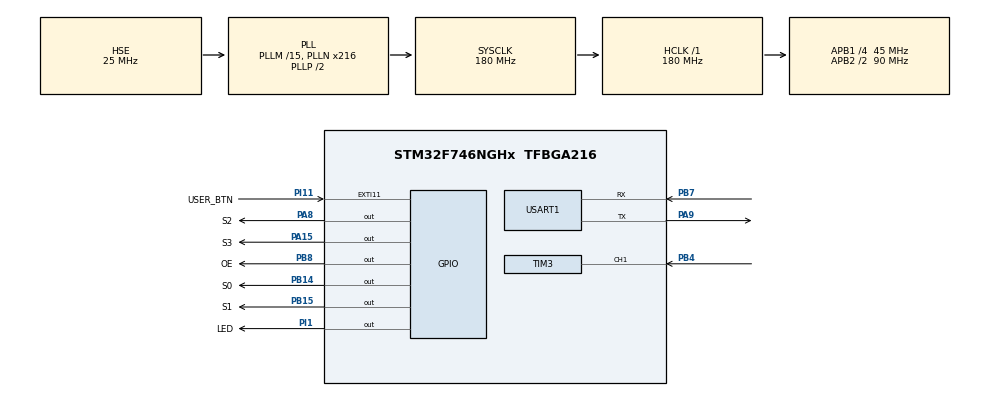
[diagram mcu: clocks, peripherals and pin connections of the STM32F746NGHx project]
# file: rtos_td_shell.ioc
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FREERTOS.Tasks01=defaultTask,0,128,StartDefaultTask,Default,NULL,Dynamic,NULL,NULL
Mcu.Family=STM32F7
Mcu.Name=STM32F746NGHx
Mcu.Package=TFBGA216
NVIC.PriorityGroup=NVIC_PRIORITYGROUP_4
NVIC.TIM3_IRQn=true\:5\:0\:false\:false\:true\:true\:true\:true\:true
NVIC.TIM6_DAC_IRQn=true\:15\:0\:false\:false\:true\:false\:false\:true\:true
NVIC.TimeBase=TIM6_DAC_IRQn
NVIC.TimeBaseIP=TIM6
PA13.Mode=Serial_Wire
PA13.Signal=SYS_JTMS-SWDIO
PA14.Mode=Serial_Wire
PA14.Signal=SYS_JTCK-SWCLK
PA15.GPIO_Label=S3
PA15.Signal=GPIO_Output
PA8.GPIO_Label=S2
PA8.Signal=GPIO_Output
PA9.Mode=Asynchronous
PA9.Signal=USART1_TX
PB14.GPIO_Label=S0
PB14.Signal=GPIO_Output
PB15.GPIO_Label=S1
PB15.Signal=GPIO_Output
PB4.Signal=S_TIM3_CH1
PB7.Mode=Asynchronous
PB7.Signal=USART1_RX
PB8.GPIO_Label=OE
PB8.Signal=GPIO_Output
PH0/OSC_IN.Mode=HSE-External-Oscillator
PH0/OSC_IN.Signal=RCC_OSC_IN
PH1/OSC_OUT.Mode=HSE-External-Oscillator
PH1/OSC_OUT.Signal=RCC_OSC_OUT
PI1.GPIO_Label=LED
PI1.Signal=GPIO_Output
PI11.GPIO_Label=USER_BTN
PI11.Signal=GPXTI11
ProjectManager.HeapSize=0x200
ProjectManager.StackSize=0x400
ProjectManager.TargetToolchain=STM32CubeIDE
RCC.AHBFreq_Value=180000000
RCC.APB1CLKDivider=RCC_HCLK_DIV4
RCC.APB1Freq_Value=45000000
RCC.APB1TimFreq_Value=90000000
RCC.APB2CLKDivider=RCC_HCLK_DIV2
RCC.APB2Freq_Value=90000000
RCC.APB2TimFreq_Value=180000000
RCC.CortexFreq_Value=180000000
RCC.HCLKFreq_Value=180000000
RCC.HSE_VALUE=25000000
RCC.HSI_VALUE=16000000
RCC.LSE_VALUE=32768
RCC.PLLM=15
RCC.PLLN=216
RCC.PLLSourceVirtual=RCC_PLLSOURCE_HSE
RCC.SYSCLKFreq_VALUE=180000000
RCC.SYSCLKSource=RCC_SYSCLKSOURCE_PLLCLK
RCC.USBFreq_Value=180000000
RCC.VCOOutputFreq_Value=360000000
SH.S_TIM3_CH1.0=TIM3_CH1,Input_Capture1_from_TI1
TIM3.Channel-Input_Capture1_from_TI1=TIM_CHANNEL_1
TIM3.Period=0xFFFF
TIM3.Prescaler=90-1
USART1.VirtualMode-Asynchronous=VM_ASYNC
VP_FREERTOS_VS_CMSIS_V1.Mode=CMSIS_V1
VP_SYS_VS_tim6.Mode=TIM6
board=STM32F746G-DISCO

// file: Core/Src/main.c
/* USER CODE BEGIN Header */
/**
 ******************************************************************************
 * @file           : main.c
 * @brief          : Main program body
 ******************************************************************************
 * @attention
 *
 * Copyright (c) 2022 STMicroelectronics.
 * All rights reserved.
 *
 * This software is licensed under terms that can be found in the LICENSE file
 * in the root directory of this software component.
 * If no LICENSE file comes with this software, it is provided AS-IS.
 *
 ******************************************************************************
 */
/* USER CODE END Header */
#include "main.h"
#include "cmsis_os.h"
#include "tim.h"
#include "usart.h"
#include "gpio.h"

/* USER CODE BEGIN Includes */
#include <stdio.h>
#include "shell.h"
#include "drv_uart1.h"
#include "TCS3200.h"
/* USER CODE END Includes */

/* USER CODE BEGIN PD */
#define TIMCLOCK   90000000
#define PRESCALAR  90
#define TASK_SHELL_STACK_DEPTH 1024
#define TASK_SHELL_PRIORITY 1
#define TASK_COLOR_STACK_DEPTH 512
#define TASK_COLOR_PRIORITY 3
/* USER CODE END PD */

/* USER CODE BEGIN PV */
h_shell_t h_shell;
TaskHandle_t h_task_shell = NULL;
TaskHandle_t h_task_color = NULL;

/* USER CODE END PV */

void SystemClock_Config(void);
void MX_FREERTOS_Init(void);

/* USER CODE BEGIN 0 */
TCS3200_struct TCS3200;

uint32_t IC_Val1 = 0;
uint32_t IC_Val2 = 0;
uint32_t Difference = 0;
int Is_First_Captured = 0;

 /* Measure Frequency */
 float frequency = 0;

 void HAL_TIM_IC_CaptureCallback(TIM_HandleTypeDef *htim)
   {
   	if (htim->Channel == HAL_TIM_ACTIVE_CHANNEL_1)
   	{
   		if (Is_First_Captured==0) // if the first rising edge is not captured
   		{
   			IC_Val1 = HAL_TIM_ReadCapturedValue(htim, TIM_CHANNEL_1); // read the first value
   			Is_First_Captured = 1;  // set the first captured as true
   		}

   		else   // If the first rising edge is captured, now we will capture the second edge
   		{
   			IC_Val2 = HAL_TIM_ReadCapturedValue(htim, TIM_CHANNEL_1);  // read second value

   			if (IC_Val2 > IC_Val1)
   			{
   				Difference = IC_Val2-IC_Val1;
   			}

   			else if (IC_Val1 > IC_Val2)
   			{
   				Difference = (0xfffff - IC_Val1) + IC_Val2;
   			}

   			float refClock = TIMCLOCK/(PRESCALAR);

   			frequency = refClock/Difference;

   			__HAL_TIM_SET_COUNTER(htim, 0);  // reset the counter
   			Is_First_Captured = 0; // set it back to false
   		}
   	}
   }

int __io_putchar(int ch)
{
	HAL_UART_Transmit(&huart1, (uint8_t*)&ch, 1, HAL_MAX_DELAY);

	return ch;
}

int fonction(h_shell_t * h_shell, int argc, char ** argv)
{
	int size = snprintf (h_shell->print_buffer, BUFFER_SIZE, "Je suis une fonction bidon\r\n");
	h_shell->drv.transmit(h_shell->print_buffer, size);

	return 0;
}

int couleur(h_shell_t * h_shell, int argc, char ** argv)
{
	if(TCS3200_Init()==1)
	{
		int size = snprintf (h_shell->print_buffer, BUFFER_SIZE, "Configuration Reussi\r\n");
		h_shell->drv.transmit(h_shell->print_buffer, size);
	}

	xSemaphoreGive( TCS3200.TCS3200_sem);
	return 0;
}

void task_color(void * unused)
{
	if (TCS3200_Init(&TCS3200))
	{
		printf("\r\nColor sensor initialized\r\n");
	}
	while(1)
	{
		xSemaphoreTake(TCS3200.TCS3200_sem, portMAX_DELAY);
		TCS3200_Read_Color(&TCS3200);
		if(TCS3200.red==1)
		{
			printf("\r\nRED  DETECTED !!\r\n");
		}
		else
			printf("\r\nGREEN  DETECTED !!\r\n");
	}

}

void task_shell(void * unused)
{
	shell_init(&h_shell);
	shell_add(&h_shell,'f', fonction, (char *)"Une fonction inutile");
	shell_add(&h_shell,'c', couleur, "Afficher les stat");

	shell_run(&h_shell);	// boucle infinie
}

/* USER CODE END 0 */

int main(void)
{

  /* MCU Configuration--------------------------------------------------------*/

  /* Reset of all peripherals, Initializes the Flash interface and the Systick. */
  HAL_Init();

  /* Configure the system clock */
  SystemClock_Config();

  /* Initialize all configured peripherals */
  MX_GPIO_Init();
  MX_USART1_UART_Init();
  MX_TIM3_Init();
  /* USER CODE BEGIN 2 */
   TCS3200.TCS3200_sem=NULL;

    HAL_TIM_IC_Start_IT(&htim3, TIM_CHANNEL_1);
	h_shell.drv.receive = drv_uart1_receive;
	h_shell.drv.transmit = drv_uart1_transmit;
	if (xTaskCreate(task_shell, "Shell", TASK_SHELL_STACK_DEPTH, NULL, TASK_SHELL_PRIORITY, &h_task_shell) != pdPASS)
	{
		printf("Error creating task shell\r\n");
		Error_Handler();
	}
	if (xTaskCreate(task_color, "Color", TASK_COLOR_STACK_DEPTH, NULL, TASK_COLOR_PRIORITY, &h_task_color) != pdPASS)
	{
		printf("Error creating task color\r\n");
		Error_Handler();
	}
	vTaskStartScheduler();

  /* USER CODE END 2 */

  /* Call init function for freertos objects (in freertos.c) */
  MX_FREERTOS_Init();

  /* Start scheduler */
  osKernelStart();

  /* We should never get here as control is now taken by the scheduler */
  /* Infinite loop */
	while (1)
	{

	}
}

void SystemClock_Config(void)
{
  RCC_OscInitTypeDef RCC_OscInitStruct = {0};
  RCC_ClkInitTypeDef RCC_ClkInitStruct = {0};

  /** Configure the main internal regulator output voltage
  */
  __HAL_RCC_PWR_CLK_ENABLE();
  __HAL_PWR_VOLTAGESCALING_CONFIG(PWR_REGULATOR_VOLTAGE_SCALE1);

  /** Initializes the RCC Oscillators according to the specified parameters
  * in the RCC_OscInitTypeDef structure.
  */
  RCC_OscInitStruct.OscillatorType = RCC_OSCILLATORTYPE_HSE;
  RCC_OscInitStruct.HSEState = RCC_HSE_ON;
  RCC_OscInitStruct.PLL.PLLState = RCC_PLL_ON;
  RCC_OscInitStruct.PLL.PLLSource = RCC_PLLSOURCE_HSE;
  RCC_OscInitStruct.PLL.PLLM = 15;
  RCC_OscInitStruct.PLL.PLLN = 216;
  RCC_OscInitStruct.PLL.PLLP = RCC_PLLP_DIV2;
  RCC_OscInitStruct.PLL.PLLQ = 2;
  if (HAL_RCC_OscConfig(&RCC_OscInitStruct) != HAL_OK)
  {
    Error_Handler();
  }

  /** Initializes the CPU, AHB and APB buses clocks
  */
  RCC_ClkInitStruct.ClockType = RCC_CLOCKTYPE_HCLK|RCC_CLOCKTYPE_SYSCLK
                              |RCC_CLOCKTYPE_PCLK1|RCC_CLOCKTYPE_PCLK2;
  RCC_ClkInitStruct.SYSCLKSource = RCC_SYSCLKSOURCE_PLLCLK;
  RCC_ClkInitStruct.AHBCLKDivider = RCC_SYSCLK_DIV1;
  RCC_ClkInitStruct.APB1CLKDivider = RCC_HCLK_DIV4;
  RCC_ClkInitStruct.APB2CLKDivider = RCC_HCLK_DIV2;

  if (HAL_RCC_ClockConfig(&RCC_ClkInitStruct, FLASH_LATENCY_5) != HAL_OK)
  {
    Error_Handler();
  }
}

void HAL_TIM_PeriodElapsedCallback(TIM_HandleTypeDef *htim)
{
  if (htim->Instance == TIM6) {
    HAL_IncTick();
  }
}

void Error_Handler(void)
{
	__disable_irq();
	while (1)
	{
	}
}

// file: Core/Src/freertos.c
/* USER CODE BEGIN Header */
/**
  ******************************************************************************
  * File Name          : freertos.c
  * Description        : Code for freertos applications
  ******************************************************************************
  * @attention
  *
  * Copyright (c) 2022 STMicroelectronics.
  * All rights reserved.
  *
  * This software is licensed under terms that can be found in the LICENSE file
  * in the root directory of this software component.
  * If no LICENSE file comes with this software, it is provided AS-IS.
  *
  ******************************************************************************
  */
/* USER CODE END Header */

#include "FreeRTOS.h"
#include "task.h"
#include "main.h"
#include "cmsis_os.h"

osThreadId defaultTaskHandle;

void StartDefaultTask(void const * argument);

void MX_FREERTOS_Init(void); /* (MISRA C 2004 rule 8.1) */

/* GetIdleTaskMemory prototype (linked to static allocation support) */
void vApplicationGetIdleTaskMemory( StaticTask_t **ppxIdleTaskTCBBuffer, StackType_t **ppxIdleTaskStackBuffer, uint32_t *pulIdleTaskStackSize );

/* USER CODE BEGIN GET_IDLE_TASK_MEMORY */
static StaticTask_t xIdleTaskTCBBuffer;
static StackType_t xIdleStack[configMINIMAL_STACK_SIZE];

void vApplicationGetIdleTaskMemory( StaticTask_t **ppxIdleTaskTCBBuffer, StackType_t **ppxIdleTaskStackBuffer, uint32_t *pulIdleTaskStackSize )
{
  *ppxIdleTaskTCBBuffer = &xIdleTaskTCBBuffer;
  *ppxIdleTaskStackBuffer = &xIdleStack[0];
  *pulIdleTaskStackSize = configMINIMAL_STACK_SIZE;
  /* place for user code */
}
/* USER CODE END GET_IDLE_TASK_MEMORY */

void MX_FREERTOS_Init(void) {

  /* Create the thread(s) */
  /* definition and creation of defaultTask */
  osThreadDef(defaultTask, StartDefaultTask, osPriorityNormal, 0, 128);
  defaultTaskHandle = osThreadCreate(osThread(defaultTask), NULL);

}

void StartDefaultTask(void const * argument)
{
  for(;;)
  {
    osDelay(1);
  }
}
